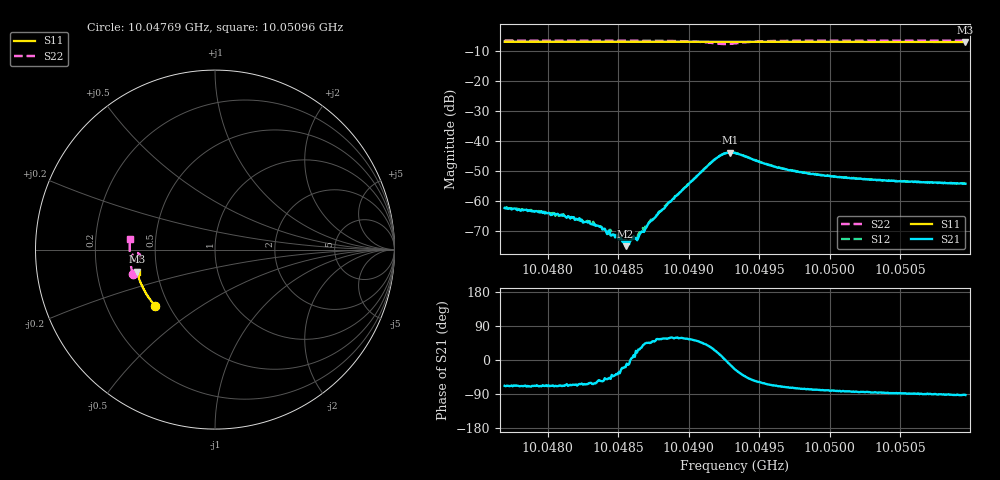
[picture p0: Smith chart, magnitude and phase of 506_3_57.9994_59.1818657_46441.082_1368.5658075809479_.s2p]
#  HZ  S  RI  R  50.00
! Rohde & Schwarz Vector Network Analyzer
! Rohde-Schwarz,ZNB20-2Port,1311601062101988,3.16
! Created: UTC 3/21/2024, 1:13:00 AM
! freq[Hz]  re:S11  im:S11  re:S21  im:S21  re:S12  im:S12  re:S22  im:S22
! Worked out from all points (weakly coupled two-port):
!   401 points, 10.04769 GHz to 10.05096 GHz, reference 50 ohm
!   highest |S21| = -43.75 dB at 10.04929 GHz (marker M1); lowest = -75.0 dB at 10.04855 GHz (marker M2)
!   lowest |S11| = -6.9 dB at 10.05096 GHz (marker M3), VSWR 2.65, Z = 19.2 - j5.97 ohm
!   |S11| at or under -10 dB: nowhere
!   |S22| runs from -7.6 to -6.4 dB; largest |S21 - S12| = 0.00045
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1.0047693e10  -0.3355 -0.3117  0.000287 -0.000717  0.000337 -0.000707  -0.458 -0.1382
1.0048061e10  -0.3509 -0.2928  0.000218 -0.000565  0.000276 -0.000565  -0.464 -0.1132
1.0048241e10  -0.3582 -0.2834  0.000229 -0.000435  0.000211 -0.000417  -0.4664 -0.1004
1.0048363e10  -0.3629 -0.2768  0.00023 -0.000309  0.000218 -0.000313  -0.4676 -0.0915
1.0048412e10  -0.3648 -0.2742  0.000201 -0.000244  0.000227 -0.000239  -0.4682 -0.0877
1.0048453e10  -0.3664 -0.2721  0.000209 -0.000171  0.000225 -0.000203  -0.4685 -0.0847
1.0048519e10  -0.3687 -0.2683  0.000222 -0.000107  0.00021 -7.85e-05  -0.469 -0.0795
1.0048551e10  -0.3699 -0.2667  0.000169 -5.81e-05  0.000222 -5.48e-05  -0.4691 -0.0767
1.0048568e10  -0.3706 -0.2657  0.000215 -4.88e-05  0.000204 -1.78e-05  -0.4692 -0.0753
1.0048584e10  -0.3712 -0.2648  0.00022 -4.96e-06  0.000215 -4.4e-06  -0.4693 -0.074
1.0048608e10  -0.3721 -0.2636  0.000256 5.89e-05  0.000219 9.24e-05  -0.4694 -0.0721
1.0048633e10  -0.3731 -0.2621  0.000211 7.63e-05  0.000214 9.6e-05  -0.4693 -0.07
1.0048723e10  -0.3763 -0.2572  0.000317 0.000316  0.000305 0.000345  -0.4694 -0.0622
1.0048788e10  -0.3785 -0.2536  0.000389 0.000548  0.000327 0.000556  -0.4689 -0.0561
1.0049172e10  -0.391 -0.2316  0.00413 0.00231  0.00398 0.00254  -0.4321 -0.0193
1.0049238e10  -0.3928 -0.2281  0.00597 0.000827  0.00593 0.00121  -0.4166 -0.0316
1.0049295e10  -0.3946 -0.2251  0.00631 -0.00153  0.00642 -0.00111  -0.4168 -0.0512
1.0049328e10  -0.3956 -0.2231  0.00581 -0.00268  0.00597 -0.0023  -0.4233 -0.0595
1.0049614e10  -0.4046 -0.2066  0.00144 -0.00347  0.00166 -0.0034  -0.4675 -0.0427
1.0049875e10  -0.4117 -0.191  0.000582 -0.00279  0.000775 -0.00277  -0.4742 -0.0178
1.0050422e10  -0.4247 -0.1575  9.61e-05 -0.00221  0.000255 -0.00221  -0.4754 0.0243
1.0050962e10  -0.4349 -0.1237  -7.92e-05 -0.00196  2.48e-05 -0.00197  -0.472 0.0616
